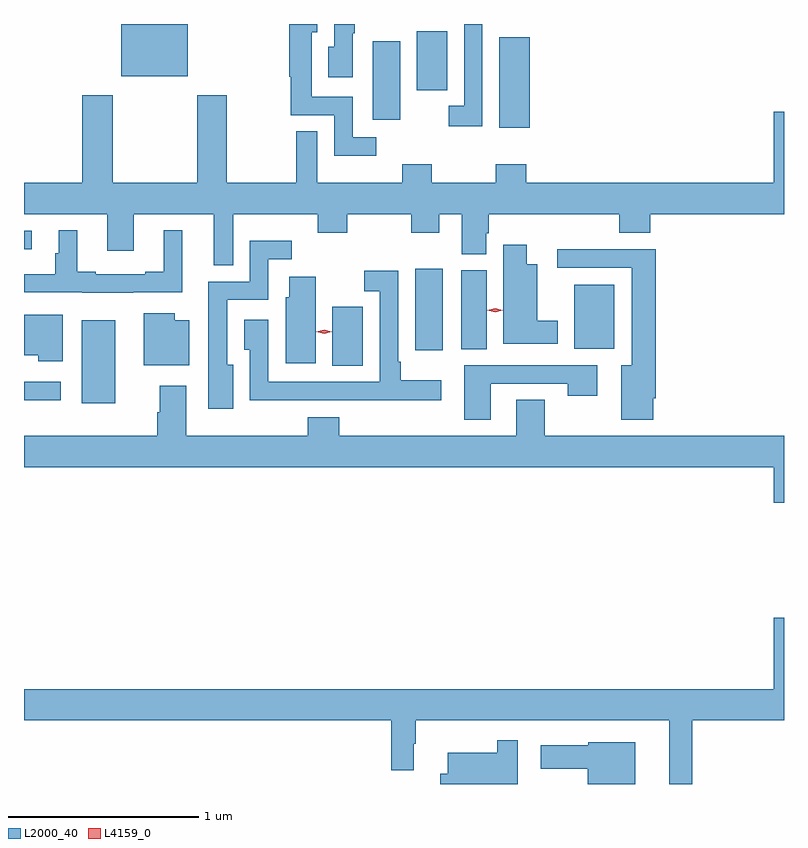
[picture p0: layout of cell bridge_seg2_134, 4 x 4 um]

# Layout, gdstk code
import gdstk
lib = gdstk.Library(unit=1e-6, precision=1e-09)
def R(c, l, rs):  # rectangles x0, y0, x1, y1
    for r in rs: c.add(gdstk.rectangle(r[:2], r[2:], *l))
def P(c, l, *ps):  # polygons
    for p in ps: c.add(gdstk.Polygon(p, *l))
L2000_40 = (2000, 40)
L4159_0 = (4159, 0)

bridge_seg2_134 = lib.new_cell('bridge_seg2_134')
R(bridge_seg2_134, L2000_40, [(425.102,593.36,425.278,593.797), (424.799,593.375,424.993,593.473), (426.422,593.557,426.583,593.868), (426.857,593.64,427.003,594.067), (427.1,593.644,427.234,594.06), (427.694,593.648,427.906,593.983), (424.799,594.17,424.84,594.267), (427.301,594.81,427.462,595.285), (426.635,594.852,426.778,595.264), (426.866,595.008,427.027,595.319), (425.312,595.082,425.662,595.356)])
P(bridge_seg2_134, L2000_40, [(426.652,594.759),(426.528,594.759),(426.528,594.972),(426.313,594.972),(426.313,595.313),(426.343,595.313),(426.343,595.356),(426.195,595.356),(426.195,595.079),(426.202,595.079),(426.202,594.876),(426.432,594.876),(426.432,594.662),(426.652,594.662)],
  [(427.212,595.356),(427.116,595.356),(427.116,594.927),(427.035,594.927),(427.035,594.819),(427.212,594.819)],
  [(426.528,595.307),(426.541,595.307),(426.541,595.356),(426.432,595.356),(426.432,595.236),(426.401,595.236),(426.401,595.077),(426.528,595.077)],
  [(425.899,594.356),(426.346,594.356),(426.346,594.257),(426.501,594.257),(426.501,594.356),(426.838,594.356),(426.838,594.257),(426.985,594.257),(426.985,594.356),(427.103,594.356),(427.103,594.145),(427.231,594.145),(427.231,594.255),(427.244,594.255),(427.244,594.356),(427.931,594.356),(427.931,594.257),(428.096,594.257),(428.096,594.356),(428.799,594.356),(428.799,594.895),(428.744,594.895),(428.744,594.52),(427.442,594.52),(427.442,594.619),(427.282,594.619),(427.282,594.52),(426.945,594.52),(426.945,594.619),(426.79,594.619),(426.79,594.52),(426.343,594.52),(426.343,594.791),(426.232,594.791),(426.232,594.52),(425.865,594.52),(425.865,594.982),(425.71,594.982),(425.71,594.52),(425.265,594.52),(425.265,594.982),(425.105,594.982),(425.105,594.52),(424.799,594.52),(424.799,594.356),(425.237,594.356),(425.237,594.162),(425.377,594.162),(425.377,594.356),(425.798,594.356),(425.798,594.085),(425.899,594.085)],
  [(425.374,593.943),(425.632,593.943),(425.632,594.271),(425.534,594.271),(425.534,594.052),(425.438,594.052),(425.438,594.039),(425.176,594.039),(425.176,594.052),(425.08,594.052),(425.08,594.271),(424.982,594.271),(424.982,594.15),(424.963,594.15),(424.963,594.04),(424.799,594.04),(424.799,593.943),(425.106,593.943),(425.106,593.942),(425.374,593.942)],
  [(425.899,593.563),(425.869,593.563),(425.869,593.904),(426.084,593.904),(426.084,594.117),(426.208,594.117),(426.208,594.214),(425.988,594.214),(425.988,594),(425.768,594),(425.768,593.331),(425.899,593.331)],
  [(427.609,593.794),(427.501,593.794),(427.501,594.091),(427.444,594.091),(427.444,594.193),(427.322,594.193),(427.322,593.672),(427.609,593.672)],
  [(428.11,593.386),(428.123,593.386),(428.123,594.17),(427.605,594.17),(427.605,594.072),(427.997,594.072),(427.997,593.56),(427.943,593.56),(427.943,593.274),(428.11,593.274)],
  [(426.209,593.376),(426.575,593.376),(426.575,593.375),(426.994,593.375),(426.994,593.482),(426.781,593.482),(426.781,593.578),(426.768,593.578),(426.768,594.058),(426.591,594.058),(426.591,593.949),(426.672,593.949),(426.672,593.472),(426.084,593.472),(426.084,593.8),(425.957,593.8),(425.957,593.641),(425.988,593.641),(425.988,593.375),(426.209,593.375)],
  [(426.334,594.025),(426.194,594.025),(426.194,593.919),(426.176,593.919),(426.176,593.571),(426.334,593.571)],
  [(425.668,593.797),(425.593,593.797),(425.593,593.833),(425.429,593.833),(425.429,593.561),(425.668,593.561)],
  [(425.002,593.827),(424.799,593.827),(424.799,593.612),(424.873,593.612),(424.873,593.582),(425.002,593.582)],
  [(427.255,593.463),(427.66,593.463),(427.66,593.4),(427.816,593.4),(427.816,593.559),(427.115,593.559),(427.115,593.274),(427.255,593.274)],
  [(428.799,593.188),(427.539,593.188),(427.539,593.378),(427.391,593.378),(427.391,593.188),(426.458,593.188),(426.458,593.287),(426.293,593.287),(426.293,593.188),(425.653,593.188),(425.653,593.452),(425.513,593.452),(425.513,593.312),(425.501,593.312),(425.501,593.188),(424.799,593.188),(424.799,593.024),(428.744,593.024),(428.744,592.836),(428.799,592.836)],
  [(428.317,591.692),(428.799,591.692),(428.799,592.231),(428.744,592.231),(428.744,591.856),(424.799,591.856),(424.799,591.692),(426.733,591.692),(426.733,591.429),(426.85,591.429),(426.85,591.569),(426.862,591.569),(426.862,591.692),(428.195,591.692),(428.195,591.356),(428.317,591.356)],
  [(427.398,591.586),(427.29,591.586),(427.29,591.52),(427.028,591.52),(427.028,591.409),(426.989,591.409),(426.989,591.356),(427.398,591.356)],
  [(428.017,591.577),(427.77,591.577),(427.77,591.559),(427.518,591.559),(427.518,591.437),(427.766,591.437),(427.766,591.356),(428.017,591.356)])
P(bridge_seg2_134, L4159_0, [(427.278,593.839),(427.237,593.849),(427.237,593.849),(427.237,593.849),(427.278,593.859),(427.318,593.849),(427.318,593.849),(427.318,593.849)],
  [(426.378,593.726),(426.337,593.736),(426.337,593.736),(426.337,593.736),(426.378,593.746),(426.419,593.736),(426.419,593.736),(426.419,593.736)])

lib.write_gds('bridge_seg2_134.gds')
